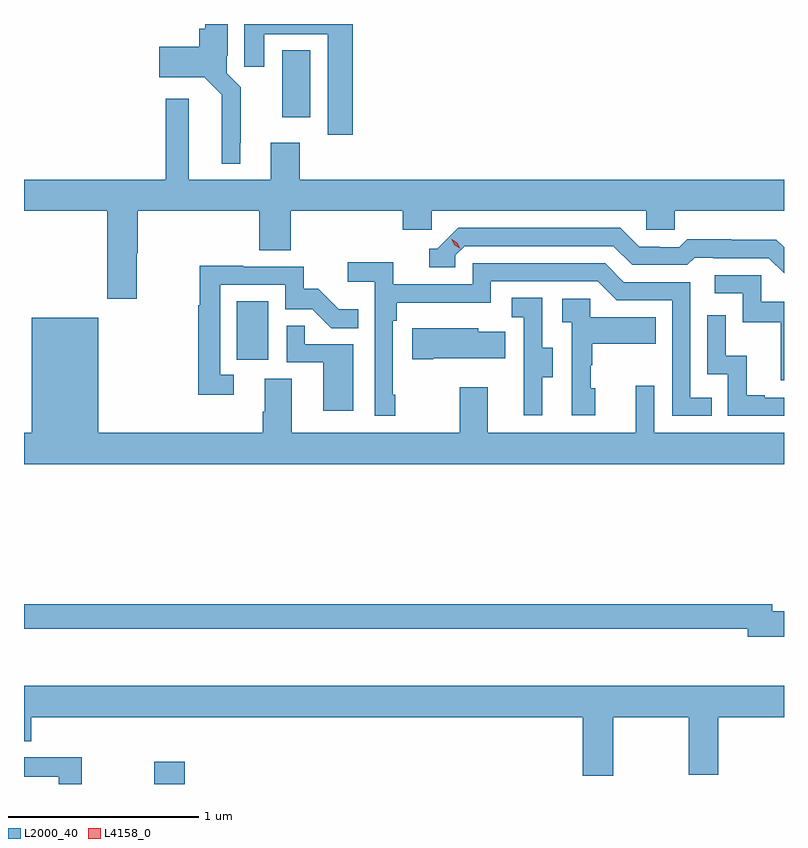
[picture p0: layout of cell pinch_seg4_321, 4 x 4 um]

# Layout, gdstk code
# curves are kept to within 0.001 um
import gdstk
lib = gdstk.Library(unit=1e-6, precision=1e-09)
def R(c, l, rs):  # rectangles x0, y0, x1, y1
    for r in rs: c.add(gdstk.rectangle(r[:2], r[2:], *l))
def P(c, l, *ps):  # polygons
    for p in ps: c.add(gdstk.Polygon(p, *l))
L2000_40 = (2000, 40)
L4158_0 = (4158, 0)

pinch_seg4_321 = lib.new_cell('pinch_seg4_321')
R(pinch_seg4_321, L2000_40, [(902.369,796.468,902.53,796.585), (902.804,798.702,902.968,799.009), (903.041,799.977,903.19,800.33)])
P(pinch_seg4_321, L2000_40, [(902.821,799.843),(902.825,799.843),(902.825,800.134),(902.751,800.208),(902.751,800.302),(902.755,800.302),(902.755,800.468),(902.636,800.468),(902.636,800.442),(902.606,800.442),(902.606,800.347),(902.394,800.347),(902.394,800.189),(902.631,800.189),(902.724,800.096),(902.723,799.733),(902.821,799.733)],
  [(903.413,800.468),(902.843,800.468),(902.843,800.244),(902.947,800.244),(902.947,800.415),(903.281,800.415),(903.281,799.884),(903.413,799.884)],
  [(902.277,799.262),(902.282,799.262),(902.282,799.484),(902.921,799.484),(902.921,799.276),(903.086,799.276),(903.086,799.484),(903.677,799.484),(903.677,799.386),(903.828,799.386),(903.828,799.484),(904.959,799.484),(904.959,799.386),(905.109,799.386),(905.109,799.484),(905.683,799.484),(905.683,799.648),(903.134,799.648),(903.134,799.843),(902.981,799.843),(902.981,799.648),(902.551,799.648),(902.551,800.074),(902.429,800.074),(902.429,799.648),(901.683,799.648),(901.683,799.484),(902.122,799.484),(902.122,799.023),(902.277,799.023)],
  [(905.683,799.292),(905.642,799.333),(905.406,799.333),(905.406,799.336),(905.173,799.336),(905.131,799.293),(905.028,799.293),(905.028,799.296),(904.921,799.296),(904.822,799.395),(903.969,799.395),(903.858,799.284),(903.815,799.284),(903.815,799.188),(903.954,799.188),(903.954,799.251),(904.002,799.299),(904.785,799.299),(904.884,799.2),(905.173,799.2),(905.212,799.239),(905.311,799.239),(905.311,799.236),(905.604,799.236),(905.683,799.157)],
  [(903.637,798.517),(903.624,798.517),(903.624,798.905),(903.644,798.905),(903.644,799.001),(904.14,799.001),(904.14,799.113),(904.704,799.113),(904.803,799.014),(905.094,799.014),(905.094,798.405),(905.303,798.405),(905.303,798.501),(905.19,798.501),(905.19,799.11),(904.84,799.11),(904.741,799.209),(904.044,799.209),(904.044,799.098),(903.626,799.098),(903.626,799.214),(903.387,799.214),(903.387,799.112),(903.528,799.112),(903.528,798.405),(903.637,798.405)],
  [(902.788,798.621),(902.715,798.621),(902.715,799.095),(903.057,799.095),(903.057,798.966),(903.201,798.966),(903.299,798.868),(903.443,798.868),(903.443,798.967),(903.339,798.967),(903.232,799.074),(903.156,799.074),(903.156,799.191),(902.837,799.191),(902.837,799.196),(902.607,799.196),(902.607,798.988),(902.599,798.988),(902.599,798.516),(902.788,798.516)],
  [(905.683,799.005),(905.562,799.005),(905.562,799.146),(905.319,799.146),(905.319,799.05),(905.466,799.05),(905.466,798.897),(905.665,798.897),(905.665,798.594),(905.683,798.594)],
  [(904.411,798.61),(904.465,798.61),(904.465,798.765),(904.41,798.765),(904.41,799.028),(904.251,799.028),(904.251,798.925),(904.314,798.925),(904.314,798.621),(904.313,798.621),(904.313,798.408),(904.411,798.408)],
  [(904.69,798.552),(904.665,798.552),(904.665,798.671),(904.675,798.671),(904.675,798.785),(905.009,798.785),(905.009,798.925),(904.662,798.925),(904.662,799.023),(904.515,799.023),(904.515,798.899),(904.566,798.899),(904.566,798.408),(904.69,798.408)],
  [(905.683,798.501),(905.581,798.501),(905.581,798.514),(905.486,798.514),(905.486,798.722),(905.376,798.722),(905.376,798.934),(905.28,798.934),(905.28,798.624),(905.388,798.624),(905.388,798.405),(905.683,798.405)],
  [(905.683,798.316),(905.001,798.316),(905.001,798.565),(904.904,798.565),(904.904,798.316),(904.123,798.316),(904.123,798.556),(903.976,798.556),(903.976,798.316),(903.091,798.316),(903.091,798.602),(902.951,798.602),(902.951,798.428),(902.939,798.428),(902.939,798.316),(902.074,798.316),(902.074,798.922),(901.724,798.922),(901.724,798.316),(901.683,798.316),(901.683,798.152),(905.683,798.152)],
  [(903.415,798.783),(903.161,798.783),(903.161,798.881),(903.066,798.881),(903.066,798.687),(903.257,798.687),(903.257,798.432),(903.415,798.432)],
  [(903.838,798.71),(904.217,798.71),(904.217,798.847),(904.074,798.847),(904.074,798.868),(903.726,798.868),(903.726,798.703),(903.838,798.703)],
  [(905.683,797.378),(905.62,797.378),(905.62,797.414),(901.683,797.414),(901.683,797.286),(905.492,797.286),(905.492,797.243),(905.683,797.243)],
  [(904.785,796.82),(905.182,796.82),(905.182,796.516),(905.336,796.516),(905.336,796.82),(905.683,796.82),(905.683,796.984),(901.683,796.984),(901.683,796.693),(901.721,796.693),(901.721,796.82),(904.625,796.82),(904.625,796.512),(904.785,796.512)],
  [(901.987,796.608),(901.683,796.608),(901.683,796.507),(901.866,796.507),(901.866,796.468),(901.987,796.468)])
P(pinch_seg4_321, L4158_0, [(903.978,799.285),(903.947,799.305),(903.931,799.337),(903.931,799.338),(903.932,799.338),(903.962,799.318),(903.978,799.286),(903.978,799.285)])

lib.write_gds('pinch_seg4_321.gds')
